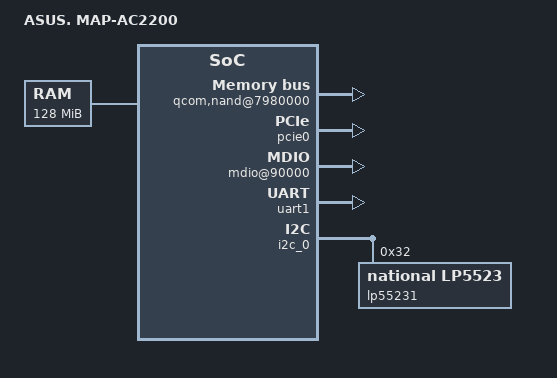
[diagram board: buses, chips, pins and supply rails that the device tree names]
/* Copyright (c) 2015, The Linux Foundation. All rights reserved.
 *
 * Permission to use, copy, modify, and/or distribute this software for any
 * purpose with or without fee is hereby granted, provided that the above
 * copyright notice and this permission notice appear in all copies.
 *
 * THE SOFTWARE IS PROVIDED "AS IS" AND THE AUTHOR DISCLAIMS ALL WARRANTIES
 * WITH REGARD TO THIS SOFTWARE INCLUDING ALL IMPLIED WARRANTIES OF
 * MERCHANTABILITY AND FITNESS. IN NO EVENT SHALL THE AUTHOR BE LIABLE FOR
 * ANY SPECIAL, DIRECT, INDIRECT, OR CONSEQUENTIAL DAMAGES OR ANY DAMAGES
 * WHATSOEVER RESULTING FROM LOSS OF USE, DATA OR PROFITS, WHETHER IN AN
 * ACTION OF CONTRACT, NEGLIGENCE OR OTHER TORTIOUS ACTION, ARISING OUT OF
 * OR IN CONNECTION WITH THE USE OR PERFORMANCE OF THIS SOFTWARE.
 *
 */

#include "qcom-ipq40xx-ap.dk04.1.dtsi"

/ {
	model = "ASUS. MAP-AC2200";

	memory {
		device_type = "memory";
		reg = <0x80000000 0x08000000>; /* 128MB */
	};

	soc {
		qcom,nand@7980000 {
			status = "ok";
		};

		pcie0: qcom,pcie@80000 {
			status = "ok";
			perst-gpio = <&tlmm 38 0>;
			wake-gpio = <&tlmm 50 0>;
			clkreq-gpio = <&tlmm 54 0>;
		};

		gpio_keys {
			status = "disabled";
		};

		serial@78b0000 {
			status = "disabled";
		};

		pinctrl@0x01000000 {
			serial_0_pins: serial0_pinmux {
				mux {
					pins = "gpio16", "gpio17";
					function = "blsp_uart0";
				};
				rx {
					qcom,pins = "gpio16";
					drive-strength = <2>;
					bias-pull-down;
				};
				tx {
					qcom,pins = "gpio17";
					drive-strength = <2>;
					bias-disable;
				};
			};
		};

		mdio@90000 {
			status = "ok";
			pinctrl-0 = <&mdio_pins>;
			pinctrl-names = "default";
			phy-reset-gpio = <&tlmm 41 0>;
			status = "ok";
			bias-disable;
		};

		uart1:uart@78b0000 {
/*
			compatible = "qcom,msm-hsuart-v14";
			reg = <0x78b0000 0x200>,
				<0x7884000 0x23000>;
			reg-names = "core_mem", "bam_mem";
			interrupt-names = "core_irq", "bam_irq";
			#address-cells = <0>;
			interrupt-parent = <&uart1>;
			interrupts = <0 1 2>;
			#interrupt-cells = <1>;
			interrupt-map-mask = <0xffffffff>;
			interrupt-map = <0 &intc 0 108 0
				1 &intc 0 238 0>;
			qcom,bam-tx-ep-pipe-index = <2>;
			qcom,bam-rx-ep-pipe-index = <3>;
			qcom,master-id = <86>;
			clocks = <&gcc GCC_BLSP1_AHB_CLK>,
				<&gcc GCC_BLSP1_UART2_APPS_CLK>;
			clock-names = "iface_clk", "core_clk";
*/
			status = "ok";
			};

		i2c_0: i2c@78b7000 { /* BLSP1 QUP2 */
			pinctrl-0 = <&i2c_0_pins>;
			pinctrl-1 = <&i2c_0_pins>;
			pinctrl-names = "i2c_active", "i2c_sleep";
			status = "ok";

			qca_codec: qca_codec@12 {
				compatible = "qca,ipq40xx-codec";
				reg = <0x12>;
				status = "disabled";
			};

			lcd_ts: lcd_ts@40 {
				compatible = "qca,gsl1680_ts";
				reg = <0x40>;
				status = "disabled";
			};

			lp55231@32 {
				compatible = "national,lp5523";
				reg = <0x32>;
				clock-mode = /bits/ 8 <1>;

				chan0 {
					chan-name = "blue1";
					led-cur = /bits/ 8 <0xfa>;
					max-cur = /bits/ 8 <0xff>;
				};

				chan1 {
					chan-name = "blue2";
					led-cur = /bits/ 8 <0xfa>;
					max-cur = /bits/ 8 <0xff>;
				};

				chan2 {
					chan-name = "blue3";
					led-cur = /bits/ 8 <0xfa>;
					max-cur = /bits/ 8 <0xff>;
				};

				chan3 {
					chan-name = "green1";
					led-cur = /bits/ 8 <0xfa>;
					max-cur = /bits/ 8 <0xff>;
				};

				chan4 {
					chan-name = "green2";
					led-cur = /bits/ 8 <0xfa>;
					max-cur = /bits/ 8 <0xff>;
				};

				chan5 {
					chan-name = "green3";
					led-cur = /bits/ 8 <0xfa>;
					max-cur = /bits/ 8 <0xff>;
				};

				chan6 {
					chan-name = "red1";
					led-cur = /bits/ 8 <0xfa>;
					max-cur = /bits/ 8 <0xff>;
				};

				chan7 {
					chan-name = "red2";
					led-cur = /bits/ 8 <0xfa>;
					max-cur = /bits/ 8 <0xff>;
				};

				chan8 {
					chan-name = "red3";
					led-cur = /bits/ 8 <0xfa>;
					max-cur = /bits/ 8 <0xff>;
				};
			};

		};

		edma@c080000 {
			qcom,num-gmac = <3>;
			gmac0 {
				qcom,poll-required = <0>;
				qcom,poll-required-dynamic = <0>;
			};
			gmac1 {
				qcom,poll-required = <0>;
				qcom,poll-required-dynamic = <0>;
			};
			gmac2 {
				qcom,poll-required = <0>;
				qcom,poll-required-dynamic = <0>;
				vlan-tag = <3 0x00>;
			};
		};
	};
};
